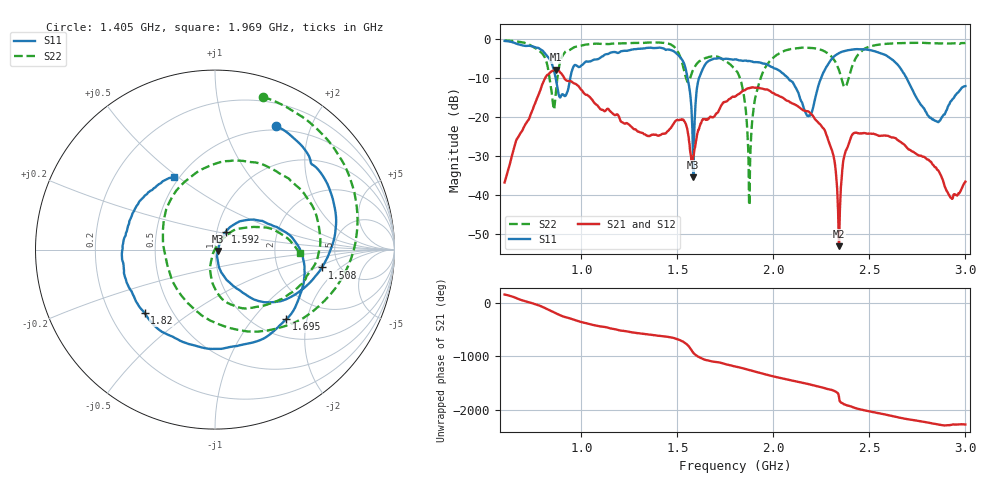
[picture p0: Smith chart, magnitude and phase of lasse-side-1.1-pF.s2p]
#  HZ  S  RI  R  50.00
! Rohde & Schwarz ZVB8 2Ports - Version 2.81 - 1145.1010k08 SN: 100113
! Date: 2016-03-31 04:51:41
! Measurements: S11 S21 S12 S22
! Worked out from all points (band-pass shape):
!   1000 points, 600 MHz to 3 GHz, reference 50 ohm
!   highest |S21| = -7.94 dB at 866.7 MHz (marker M1); lowest = -53.1 dB at 2.342 GHz (marker M2)
!   |S21| within 3 dB of the highest: 803 MHz to 947.9 MHz (144.9 MHz wide, 16.6 % of centre)
!   lowest |S11| = -35.4 dB at 1.583 GHz (marker M3), VSWR 1.03, Z = 51.5 - j0.758 ohm
!   |S11| at or under -10 dB: 865.6 MHz to 942.3 MHz (76.7 MHz wide, 8.49 % of centre); 2.075 GHz to 2.249 GHz (173.6 MHz wide, 8.03 % of centre); 2.693 GHz to end of sweep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
!   |S22| runs from -42.6 to -0.4 dB; largest |S21 - S12| = 0.0021
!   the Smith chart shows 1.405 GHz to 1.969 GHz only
!   S11 on the Smith chart (normalised r, x): 1.405 GHz: 0.45, +1.51; 1.508 GHz: 3.67, -1.14; 1.592 GHz: 1.10, +0.22; 1.695 GHz: 1.35, -1.51; 1.82 GHz: 0.35, -0.34; 1.969 GHz: 0.47, +0.49
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6e8  0.0428 0.9348  -0.0123 0.00773  -0.0123 0.00774  -0.0896 0.9453
7.345345e8  0.7547 0.2875  0.1056 -0.00452  0.1054 -0.00472  0.7481 0.3392
8.666667e8  0.1211 -0.2818  -0.3801 0.1272  -0.3797 0.1272  0.1627 0.1231
1.001201e9  0.2802 -0.3622  0.2196 -0.0128  0.2192 -0.0123  0.5 -0.646
1.215015e9  -0.6965 0.0198  -0.0815 -0.0235  -0.0815 -0.0234  -0.8713 -0.0573
1.4e9  0.2994 0.7051  -0.015 0.0554  -0.0151 0.0554  0.218 0.867
1.404805e9  0.3401 0.6885  -0.0136 0.0561  -0.0136 0.056  0.2681 0.8523
1.508108e9  0.5957 -0.0992  0.0801 0.0431  0.0798 0.0432  0.5363 -0.351
1.582583e9  0.0153 -0.00735  -0.0269 0.0152  -0.0268 0.0151  -0.1939 0.3534
1.592192e9  0.0595 0.0996  -0.0167 0.0373  -0.0168 0.0371  -0.0989 0.4324
1.695495e9  0.3981 -0.3875  0.0984 -0.0328  0.0985 -0.0324  0.5775 0.1381
1.801201e9  -0.2945 -0.4587  -0.0505 -0.1744  -0.0506 -0.1743  0.2478 -0.3175
1.82042e9  -0.3926 -0.3551  -0.1028 -0.1667  -0.1024 -0.1666  0.1187 -0.3184
1.875676e9  -0.5192 -0.0258  -0.2313 -0.026  -0.231 -0.0261  0.00235 0.00704
1.969369e9  -0.2282 0.4061  -0.0291 0.2217  -0.0294 0.2215  0.4731 -0.0207
2.2e9  -0.00458 0.1141  -0.000194 -0.1068  8.03e-05 -0.1067  -0.6276 -0.4289
2.341742e9  0.5078 0.4123  0.00149 0.00164  0.00148 0.00171  0.0745 0.3881
2.416216e9  0.7236 -0.0897  -0.0495 -0.0363  -0.0494 -0.0364  -0.2771 -0.396
2.485886e9  0.471 -0.5526  -0.0544 0.0285  -0.0545 0.0283  -0.7338 0.2267
2.601201e9  -0.3912 -0.4279  0.0209 0.0526  0.0205 0.0527  -0.1273 0.8552
2.848649e9  0.0531 -0.0701  -0.00196 -0.022  -0.00196 -0.0221  0.8614 0.135
3e9  -0.1438 0.2012  -0.00308 -0.0145  -0.00312 -0.0145  0.731 -0.4903
